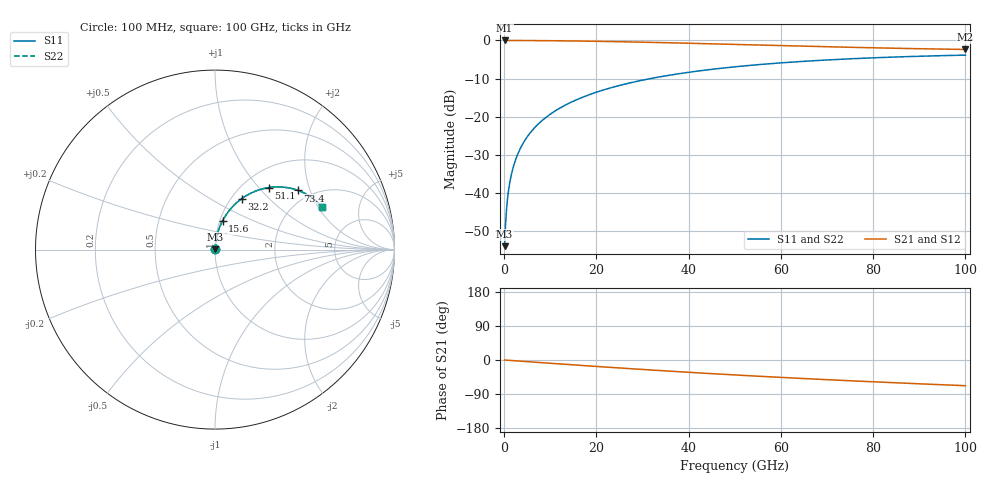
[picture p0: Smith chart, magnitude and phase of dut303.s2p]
! Touchstone file exported from HFSS 2026.1.0
!  File:  C:/ffzhzh/LocalFiles/Ansys_Project_Files/temp_train_RDL_303_1783502402_44152.aedt
!  Generated:  05:21:15 PM Jul  8, 2026
!  Design:  RDL
!  Project:  temp_train_RDL_303_1783502402_44152
! Variables:
!  h_bsmrdl = 2um
!  h_ox = 20um
!  h_rdl = 5um
!  h_sub = 80um
!  h_tmrdl = 2.18um
!  h_tsv = 80um
!  h_via = 3um
!  l_bsmrdl = 300um
!  l_sub = 564.16um
!  l_tmrdl = 164.16um
!  m_sub = 200um
!  pitch = 59.98um
!  r_tsv = 6um
!  s_tmrdl = 10um
!  w_bsmrdl = 18um
!  w_sub = 500um
!  w_tmrdl = 20.66um
!  x_tsv_center1 = 174.49um
!  x_tsv_center2 = 492.49um
!  x_tsv_center3 = 677.31um
!  x_tsv_center4 = 995.31um
!  x_tsv_center5 = 1180.13um
!  x_tsv_center6 = 1498.13um
# GHz S MA R 50.000000
! Terminal data exported
! Port[1] = TM_RDL1_1_T1
! Port[2] = TM_RDL1_1_T2
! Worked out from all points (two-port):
!   1000 points, 100 MHz to 100 GHz, reference 50 ohm
!   highest |S21| = -0.01 dB at 100 MHz (marker M1); lowest = -2.4 dB at 100 GHz (marker M2)
!   |S21| within 3 dB of the highest: start of sweep to end of sweep
!   lowest |S11| = -53.9 dB at 100 MHz (marker M3), VSWR 1.00, Z = 50.2 + j0.116 ohm
!   |S11| at or under -10 dB: start of sweep to 31.72 GHz
!   |S22| runs from -53.9 to -3.9 dB; largest |S21 - S12| = 4.1e-15
!   S11 on the Smith chart (normalised r, x): 100 MHz: 1.00, +0.00; 15.6 GHz: 1.03, +0.34; 32.2 GHz: 1.11, +0.70; 51.1 GHz: 1.30, +1.13; 73.4 GHz: 1.70, +1.66; 100 GHz: 2.69, +2.16
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0.1  0.00202 35.0  0.9983 -0.1  0.9983 -0.1  0.00202 35.0
! Gamma 0 0 0 0
! Port Impedance 50 0 50 0
0.3  0.003858 63.3  0.9983 -0.3  0.9983 -0.3  0.003858 63.3
0.7  0.008114 75.9  0.9981 -0.6  0.9981 -0.6  0.008114 75.9
0.9  0.01026 78.3  0.998 -0.8  0.998 -0.8  0.01026 78.3
1.4  0.01564 81.3  0.9978 -1.2  0.9978 -1.2  0.01564 81.3
1.9  0.02104 82.6  0.9977 -1.7  0.9977 -1.7  0.02104 82.6
2.4  0.02645 83.2  0.9975 -2.1  0.9975 -2.1  0.02645 83.3
3.8  0.04162 83.6  0.9969 -3.3  0.9969 -3.3  0.04162 83.6
5.8  0.06323 82.7  0.9956 -5.0  0.9956 -5.0  0.06323 82.7
8.4  0.09109 81.0  0.9931 -7.3  0.9931 -7.3  0.09109 81.0
11.6  0.1248 78.5  0.989 -10.0  0.989 -10.0  0.1248 78.5
15.6  0.166 75.3  0.9824 -13.4  0.9824 -13.4  0.166 75.3
16.8  0.178 74.4  0.9802 -14.4  0.9802 -14.4  0.178 74.4
23.7  0.2449 68.9  0.9649 -20.0  0.9649 -20.0  0.2449 68.9
32.2  0.3203 62.3  0.9419 -26.7  0.9419 -26.7  0.3203 62.4
33.4  0.3303 61.4  0.9384 -27.6  0.9384 -27.6  0.3303 61.5
50.1  0.4515 49.7  0.8861 -39.5  0.8861 -39.5  0.4515 49.7
51.1  0.4577 49.0  0.8829 -40.2  0.8829 -40.2  0.4577 49.1
66.7  0.5402 39.3  0.8352 -50.0  0.8352 -50.0  0.5402 39.4
73.4  0.568 35.5  0.8166 -53.9  0.8166 -53.9  0.568 35.5
83.4  0.6021 30.0  0.792 -59.4  0.792 -59.4  0.6021 30.1
100  0.6416 21.7  0.7606 -67.8  0.7606 -67.8  0.6416 21.7
